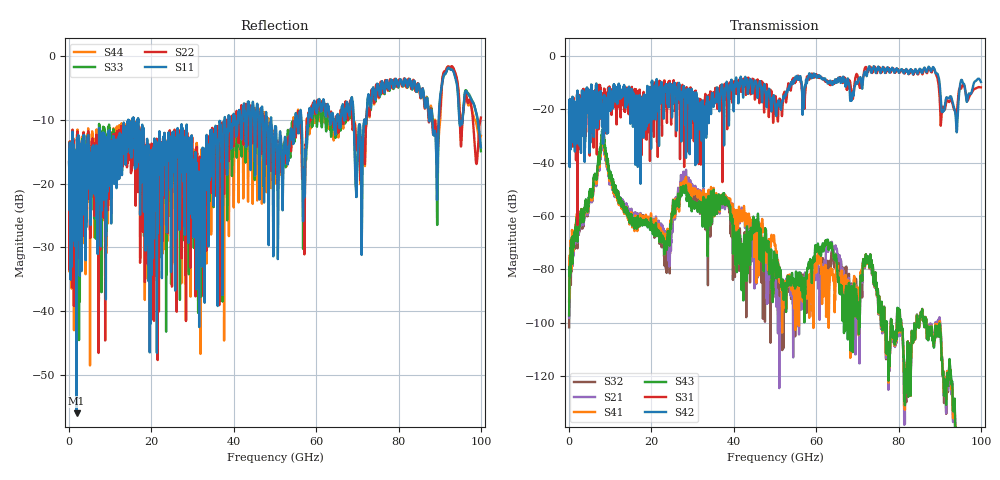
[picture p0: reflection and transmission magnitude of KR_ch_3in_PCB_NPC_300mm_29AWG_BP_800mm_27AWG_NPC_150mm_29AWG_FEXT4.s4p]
# GHz S RI R 45
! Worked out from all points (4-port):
!   4000 points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, 25 MHz to 100 GHz, reference 45 ohm
!   strongest paths, dB at 25 MHz, 25.02 GHz, 50.02 GHz, 75.03 GHz, 100 GHz:
!     S42: -21.2, -20.7, -18.6, -4.1, -9.8
!     S31: -21.2, -14.1, -15.8, -5.2, -11.8
!     S43: -97.2, -59.5, -78.4, -90.6, -171.7
!     S41: -91.9, -59.5, -70.8, -90.9, -171.2
!     S21: -98.1, -64.5, -83.0, -90.9, -171.5
!     S32: -101.7, -61.8, -82.2, -90.5, -169.8
!   lowest |S11| = -56.0 dB at 1.85 GHz (marker M1), VSWR 1.00, Z = 45.1 + j0.0643 ohm
!   |S11| at or under -10 dB: start of sweep to 14.37 GHz; 16.8 GHz to 37.75 GHz (20.95 GHz wide, 76.8 % of centre); 49.1 GHz to 54.96 GHz (5.864 GHz wide, 11.3 % of centre)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
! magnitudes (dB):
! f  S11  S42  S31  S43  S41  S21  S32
! 25 MHz  -16.7  -21.2  -21.2  -97.2  -91.9  -98.1  -101.7
! 1.85 GHz  -56.0  -26.7  -24.9  -61.2  -60.1  -62.4  -63.9
! 8.225 GHz  -15.9  -21.9  -14.4  -28.0  -29.7  -31.7  -29.6
! 23.4 GHz  -15.0  -13.0  -11.2  -70.9  -68.3  -67.8  -74.5
! 27.98 GHz  -23.0  -12.9  -31.7  -50.2  -47.8  -45.2  -47.6
! 48.3 GHz  -14.5  -13.7  -15.6  -69.5  -80.1  -88.5  -78.7
! 100 GHz  -14.4  -9.8  -11.8  -171.7  -171.2  -171.5  -169.8
